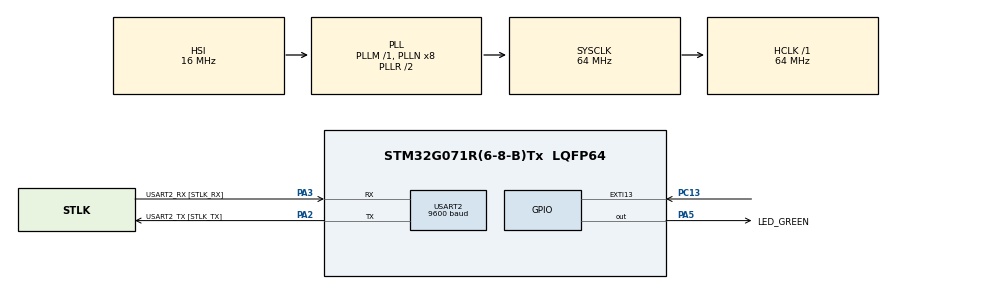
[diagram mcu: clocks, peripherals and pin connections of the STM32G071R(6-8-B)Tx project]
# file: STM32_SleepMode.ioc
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Mcu.Family=STM32G0
Mcu.Name=STM32G071R(6-8-B)Tx
Mcu.Package=LQFP64
NVIC.EXTI4_15_IRQn=true\:0\:0\:false\:false\:true\:true\:true\:true
NVIC.PVD_IRQn=true\:0\:0\:false\:false\:true\:true\:true\:true
NVIC.TIM2_IRQn=true\:0\:0\:false\:false\:true\:true\:true\:true
NVIC.USART2_IRQn=true\:0\:0\:false\:false\:true\:true\:true\:true
PA13.GPIO_Label=TMS
PA13.Mode=Serial_Wire
PA13.Signal=SYS_SWDIO
PA14-BOOT0.GPIO_Label=TCK
PA14-BOOT0.Mode=Serial_Wire
PA14-BOOT0.Signal=SYS_SWCLK
PA2.GPIO_Label=USART2_TX [STLK_TX]
PA2.GPIO_PuPd=GPIO_PULLUP
PA2.Mode=Asynchronous
PA2.Signal=USART2_TX
PA3.GPIO_Label=USART2_RX [STLK_RX]
PA3.GPIO_PuPd=GPIO_PULLUP
PA3.Mode=Asynchronous
PA3.Signal=USART2_RX
PA5.GPIO_Label=LED_GREEN
PA5.GPIO_Speed=GPIO_SPEED_FREQ_HIGH
PA5.Signal=GPIO_Output
PC13.GPIO_ModeDefaultEXTI=GPIO_MODE_IT_RISING_FALLING
PC13.Signal=GPXTI13
PC14-OSC32_IN\ (PC14).Signal=RCC_OSC32_IN
PC15-OSC32_OUT\ (PC15).Signal=RCC_OSC32_OUT
PF0-OSC_IN\ (PF0).GPIO_Label=MCO
PF0-OSC_IN\ (PF0).Mode=HSE-External-Oscillator
PF0-OSC_IN\ (PF0).Signal=RCC_OSC_IN
PF1-OSC_OUT\ (PF1).Mode=HSE-External-Oscillator
PF1-OSC_OUT\ (PF1).Signal=RCC_OSC_OUT
ProjectManager.HeapSize=0x200
ProjectManager.StackSize=0x400
ProjectManager.TargetToolchain=STM32CubeIDE
RCC.ADCFreq_Value=64000000
RCC.AHBFreq_Value=64000000
RCC.CortexFreq_Value=64000000
RCC.EXTERNAL_CLOCK_VALUE=12288000
RCC.HCLKFreq_Value=64000000
RCC.HSE_VALUE=8000000
RCC.HSI_VALUE=16000000
RCC.LSE_VALUE=32768
RCC.SYSCLKFreq_VALUE=64000000
RCC.SYSCLKSource=RCC_SYSCLKSOURCE_PLLCLK
RCC.VCOOutputFreq_Value=128000000
TIM2.AutoReloadPreload=TIM_AUTORELOAD_PRELOAD_DISABLE
TIM2.Period=600000
TIM2.Prescaler=6399
USART2.BaudRate=9600
USART2.VirtualMode-Asynchronous=VM_ASYNC
VP_TIM2_VS_ClockSourceINT.Mode=Internal
board=NUCLEO-G071RB

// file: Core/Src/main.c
/* USER CODE BEGIN Header */
/**
  ******************************************************************************
  * @file           : main.c
  * @brief          : Main program body
  ******************************************************************************
  * @attention
  *
  * Copyright (c) 2023 STMicroelectronics.
  * All rights reserved.
  *
  * This software is licensed under terms that can be found in the LICENSE file
  * in the root directory of this software component.
  * If no LICENSE file comes with this software, it is provided AS-IS.
  *
  ******************************************************************************
  */
/* USER CODE END Header */
#include "main.h"

/* USER CODE BEGIN Includes */
#include "string.h"
#include "stdio.h"
/* USER CODE END Includes */

TIM_HandleTypeDef htim2;

UART_HandleTypeDef huart2;

void SystemClock_Config(void);
static void MX_GPIO_Init(void);
static void MX_USART2_UART_Init(void);
static void MX_TIM2_Init(void);
/* USER CODE BEGIN PFP */
char *str = {0};

// ***********************************************
// Do job when user pushes USR BTN
// ***********************************************
void HAL_GPIO_EXTI_Falling_Callback(uint16_t GPIO_Pin)
{
	LogMsg("Woke Up by pressing button|");
}

// ***********************************************
// Do job on Timer Tick
// ***********************************************
void HAL_TIM_PeriodElapsedCallback(TIM_HandleTypeDef* htim)
{
    HAL_GPIO_TogglePin(LED_GREEN_GPIO_Port, LED_GREEN_Pin);
    LogMsg("Woke up by Timer|");
}

/* USER CODE END PFP */

/* USER CODE BEGIN 0 */
void LogMsg(const char *msg)
{
	HAL_UART_Transmit(&huart2, (uint8_t *)msg, strlen(msg), HAL_MAX_DELAY);
}
/* USER CODE END 0 */

int main(void)
{

  /* MCU Configuration--------------------------------------------------------*/

  /* Reset of all peripherals, Initializes the Flash interface and the Systick. */
  HAL_Init();

  /* Configure the system clock */
  SystemClock_Config();

  /* Initialize all configured peripherals */
  MX_GPIO_Init();
  MX_USART2_UART_Init();
  MX_TIM2_Init();

  /* Infinite loop */
  while (1)
  {

    /* USER CODE BEGIN 3 */
	  LogMsg("I'm going to sleep. -_- Zzzz ..  |");
	  LogMsg(" |");

	  HAL_GPIO_WritePin(LED_GREEN_GPIO_Port, LED_GREEN_Pin, 1);

	  HAL_SuspendTick();

	  HAL_GPIO_WritePin(LED_GREEN_GPIO_Port, LED_GREEN_Pin, 0);

	  HAL_PWR_EnterSLEEPMode(PWR_MAINREGULATOR_ON, PWR_SLEEPENTRY_WFI);

	  HAL_ResumeTick();

	  LogMsg("Doing some job .. |");

	  char indx[10];
	  for (int i = 0; i < 10; i++) {
	  	  HAL_GPIO_TogglePin(LED_GREEN_GPIO_Port, LED_GREEN_Pin);
	  	  sprintf(indx, " %d", i);
	  	  strcat(indx, "|");
	  	  HAL_UART_Transmit(&huart2, (uint8_t *)indx, strlen(indx), HAL_MAX_DELAY);
	  	  HAL_Delay(150);
	  }
	  LogMsg("I've done it. |");
	  LogMsg(" |");
  }
  /* USER CODE END 3 */
}

void SystemClock_Config(void)
{
  RCC_OscInitTypeDef RCC_OscInitStruct = {0};
  RCC_ClkInitTypeDef RCC_ClkInitStruct = {0};

  /** Configure the main internal regulator output voltage
  */
  HAL_PWREx_ControlVoltageScaling(PWR_REGULATOR_VOLTAGE_SCALE1);

  /** Initializes the RCC Oscillators according to the specified parameters
  * in the RCC_OscInitTypeDef structure.
  */
  RCC_OscInitStruct.OscillatorType = RCC_OSCILLATORTYPE_HSI;
  RCC_OscInitStruct.HSIState = RCC_HSI_ON;
  RCC_OscInitStruct.HSIDiv = RCC_HSI_DIV1;
  RCC_OscInitStruct.HSICalibrationValue = RCC_HSICALIBRATION_DEFAULT;
  RCC_OscInitStruct.PLL.PLLState = RCC_PLL_ON;
  RCC_OscInitStruct.PLL.PLLSource = RCC_PLLSOURCE_HSI;
  RCC_OscInitStruct.PLL.PLLM = RCC_PLLM_DIV1;
  RCC_OscInitStruct.PLL.PLLN = 8;
  RCC_OscInitStruct.PLL.PLLP = RCC_PLLP_DIV2;
  RCC_OscInitStruct.PLL.PLLQ = RCC_PLLQ_DIV2;
  RCC_OscInitStruct.PLL.PLLR = RCC_PLLR_DIV2;
  if (HAL_RCC_OscConfig(&RCC_OscInitStruct) != HAL_OK)
  {
    Error_Handler();
  }

  /** Initializes the CPU, AHB and APB buses clocks
  */
  RCC_ClkInitStruct.ClockType = RCC_CLOCKTYPE_HCLK|RCC_CLOCKTYPE_SYSCLK
                              |RCC_CLOCKTYPE_PCLK1;
  RCC_ClkInitStruct.SYSCLKSource = RCC_SYSCLKSOURCE_PLLCLK;
  RCC_ClkInitStruct.AHBCLKDivider = RCC_SYSCLK_DIV1;
  RCC_ClkInitStruct.APB1CLKDivider = RCC_HCLK_DIV1;

  if (HAL_RCC_ClockConfig(&RCC_ClkInitStruct, FLASH_LATENCY_2) != HAL_OK)
  {
    Error_Handler();
  }
}

static void MX_TIM2_Init(void)
{

  TIM_ClockConfigTypeDef sClockSourceConfig = {0};
  TIM_MasterConfigTypeDef sMasterConfig = {0};

  htim2.Instance = TIM2;
  htim2.Init.Prescaler = 6399;
  htim2.Init.CounterMode = TIM_COUNTERMODE_UP;
  htim2.Init.Period = 600000;
  htim2.Init.ClockDivision = TIM_CLOCKDIVISION_DIV1;
  htim2.Init.AutoReloadPreload = TIM_AUTORELOAD_PRELOAD_DISABLE;
  if (HAL_TIM_Base_Init(&htim2) != HAL_OK)
  {
    Error_Handler();
  }
  sClockSourceConfig.ClockSource = TIM_CLOCKSOURCE_INTERNAL;
  if (HAL_TIM_ConfigClockSource(&htim2, &sClockSourceConfig) != HAL_OK)
  {
    Error_Handler();
  }
  sMasterConfig.MasterOutputTrigger = TIM_TRGO_RESET;
  sMasterConfig.MasterSlaveMode = TIM_MASTERSLAVEMODE_DISABLE;
  if (HAL_TIMEx_MasterConfigSynchronization(&htim2, &sMasterConfig) != HAL_OK)
  {
    Error_Handler();
  }
  /* USER CODE BEGIN TIM2_Init 2 */
  // ***********************************************
  // Enable Timer
  // ***********************************************
  if (HAL_TIM_Base_Start_IT(&htim2) != HAL_OK)
  {
    /* Starting Error */
    Error_Handler();
  }
  /* USER CODE END TIM2_Init 2 */

}

static void MX_USART2_UART_Init(void)
{

  huart2.Instance = USART2;
  huart2.Init.BaudRate = 9600;
  huart2.Init.WordLength = UART_WORDLENGTH_8B;
  huart2.Init.StopBits = UART_STOPBITS_1;
  huart2.Init.Parity = UART_PARITY_NONE;
  huart2.Init.Mode = UART_MODE_TX_RX;
  huart2.Init.HwFlowCtl = UART_HWCONTROL_NONE;
  huart2.Init.OverSampling = UART_OVERSAMPLING_16;
  huart2.Init.OneBitSampling = UART_ONE_BIT_SAMPLE_DISABLE;
  huart2.Init.ClockPrescaler = UART_PRESCALER_DIV1;
  huart2.AdvancedInit.AdvFeatureInit = UART_ADVFEATURE_NO_INIT;
  if (HAL_UART_Init(&huart2) != HAL_OK)
  {
    Error_Handler();
  }
  if (HAL_UARTEx_SetTxFifoThreshold(&huart2, UART_TXFIFO_THRESHOLD_1_8) != HAL_OK)
  {
    Error_Handler();
  }
  if (HAL_UARTEx_SetRxFifoThreshold(&huart2, UART_RXFIFO_THRESHOLD_1_8) != HAL_OK)
  {
    Error_Handler();
  }
  if (HAL_UARTEx_DisableFifoMode(&huart2) != HAL_OK)
  {
    Error_Handler();
  }

}

static void MX_GPIO_Init(void)
{
  GPIO_InitTypeDef GPIO_InitStruct = {0};

  /* GPIO Ports Clock Enable */
  __HAL_RCC_GPIOC_CLK_ENABLE();
  __HAL_RCC_GPIOF_CLK_ENABLE();
  __HAL_RCC_GPIOA_CLK_ENABLE();

  /*Configure GPIO pin Output Level */
  HAL_GPIO_WritePin(LED_GREEN_GPIO_Port, LED_GREEN_Pin, GPIO_PIN_RESET);

  /*Configure GPIO pin : PC13 */
  GPIO_InitStruct.Pin = GPIO_PIN_13;
  GPIO_InitStruct.Mode = GPIO_MODE_IT_RISING_FALLING;
  GPIO_InitStruct.Pull = GPIO_NOPULL;
  HAL_GPIO_Init(GPIOC, &GPIO_InitStruct);

  /*Configure GPIO pin : LED_GREEN_Pin */
  GPIO_InitStruct.Pin = LED_GREEN_Pin;
  GPIO_InitStruct.Mode = GPIO_MODE_OUTPUT_PP;
  GPIO_InitStruct.Pull = GPIO_NOPULL;
  GPIO_InitStruct.Speed = GPIO_SPEED_FREQ_HIGH;
  HAL_GPIO_Init(LED_GREEN_GPIO_Port, &GPIO_InitStruct);

  /* EXTI interrupt init*/
  HAL_NVIC_SetPriority(EXTI4_15_IRQn, 0, 0);
  HAL_NVIC_EnableIRQ(EXTI4_15_IRQn);

}

void Error_Handler(void)
{
  __disable_irq();
  while (1)
  {
  }
}
